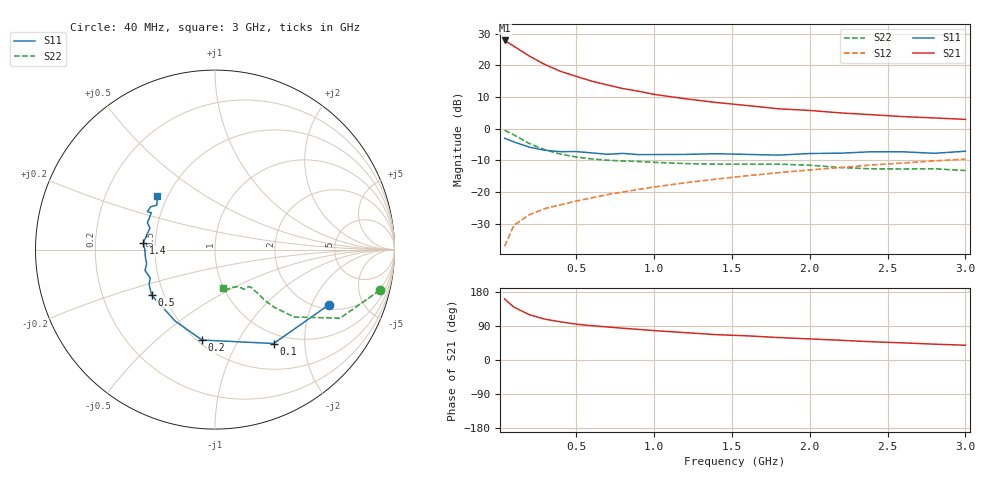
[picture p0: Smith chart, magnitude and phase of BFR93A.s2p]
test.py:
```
from __future__ import division

from sys import platform as _platform
if _platform == "darwin":
    # OS X
    import matplotlib
    matplotlib.use('TkAgg') #default MacOSX backend doesn't support blitting

import pylab as pyl
from twoport import *
from twoport.networks import *


def basic():
    f = linspace(100e6, 1000e6)

    r = Resistor(100)
    c = Capacitor(10e-12, f=f)
    terminator = Resistor(50)

    filter = Series(c) * Shunt(r)
    input_equiv = filter.inp()

    g = filter.transducer_gain(terminator, terminator)

    print(filter[200e6])
    print('Zin @ 200 MHz:', input_equiv[200e6].z)

    pyl.figure()
    pyl.plot(f/1e6, utils.db(g))
    pyl.xlabel('Frequency (MHz)')
    pyl.ylabel('Gain (dB)')

    pyl.show()

def amplifier():
    file_name = 'BFR93A.s2p'
    analysis_freq = 400e6

    ## load a transistor model
    q = load_snp(file_name)
    f = linspace(q.f[0], q.f[-1], 1000) # new f axis with 1000 points
    q = q[f] # interpolate to new f axis

    ## plot input reflection coefficient (S11) on Smith chart
    pyl.figure()
    sc = SmithChart(show_cursor=False, labels=True)
    sc.plot_s_param(q.inp().s)

    # calculate various stability factors
    k = q.rollett_k()
    kt = q.rollett_kt()
    mu = q.mu_stability_source()

    pyl.figure()
    pyl.plot(f/1e6, kt, label='EL Tan\'s modified Rollett $k$')
    pyl.plot(f/1e6, mu, label='$\mu_i$')
    pyl.xlabel('Frequency (MHz)')
    pyl.ylabel('Stability factor')
    pyl.axhline(1.0, color='black') # line at stability limit
    pyl.legend(loc='lower right')

    ## plot gains

    # We can do this manually using:
    # terminator = Resistor(50)
    # gt = q.transducer_gain(terminator, terminator)
    # gmsg = q.max_stable_gain()
    # gmax = q.max_gain()
    # etc. or just:

    pyl.figure()
    plot_gains(q)

    ## plot stability circles

    q_desired = q[analysis_freq]

    pyl.figure()
    sc = SmithChart(show_cursor=False, labels=True)
    sc.two_port = q_desired # need this for cursors to work

    sc.draw_stability_circles(q_desired, plane='both')
    sc.plot_gain_circles(q_desired, surface=True, gain_cursor=True)

    # enable cursor
    # note green circle will show optimal termination at other (load) port
    sc.enable_cursor()

    pyl.show()


def main():
    basic()
    amplifier()

if __name__ == '__main__':
    main()
```
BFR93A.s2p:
! Filename:  BFR93AB.S2P  Version:  2.0
! Philips part #: BFR93A  Date: May 1990
! Bias condition: Vce=5V, Ic=10mA
#  MHz  S  MA  R  50
! Freq  S11  S21  S12  S22  !GUM [dB]
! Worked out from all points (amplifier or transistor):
!   21 points, 40 MHz to 3 GHz, reference 50 ohm
!   highest |S21| = 27.8 dB at 40 MHz (marker M1)
!   |S21| within 3 dB of that: start of sweep to 137.4 MHz
!   unconditionally stable (mu >= 1): 910.9 MHz to 2.916 GHz
!   at 300 MHz: K = 0.66, MSG = 22.7 dB, |S12| = -25.2 dB
!   at 1 GHz: K = 1.02, MAG = 13.7 dB, |S12| = -18.4 dB
!   at 3 GHz: K = 0.99, MSG = 6.3 dB, |S12| = -9.6 dB
!   S11 on the Smith chart (normalised r, x): 40 MHz: 2.19, -2.68; 100 MHz: 0.85, -1.44; 200 MHz: 0.53, -0.72; 500 MHz: 0.43, -0.27; 1.4 GHz: 0.43, +0.04; 3 GHz: 0.44, +0.33
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40  0.704 -26.0  24.58 161.0  0.014 77.0  0.945 -13.9
100  0.617 -58.0  19.89 139.4  0.03 64.2  0.795 -28.7
200  0.509 -98.1  13.9 119.3  0.044 57.3  0.58 -40.4
300  0.456 -119.1  10.22 107.7  0.055 56.0  0.462 -44.2
400  0.433 -133.1  7.994 100.7  0.063 57.6  0.396 -45.6
500  0.435 -144.4  6.667 94.6  0.072 58.9  0.357 -45.6
800  0.407 -163.5  4.286 83.8  0.1 64.0  0.309 -45.7
1000  0.39 -173.0  3.469 77.6  0.12 66.0  0.294 -46.2
1400  0.402 175.0  2.583 66.9  0.16 67.1  0.275 -50.0
1600  0.392 170.1  2.312 63.7  0.181 67.5  0.275 -51.7
3000  0.44 136.9  1.399 39.0  0.331 61.8  0.218 -77.7
